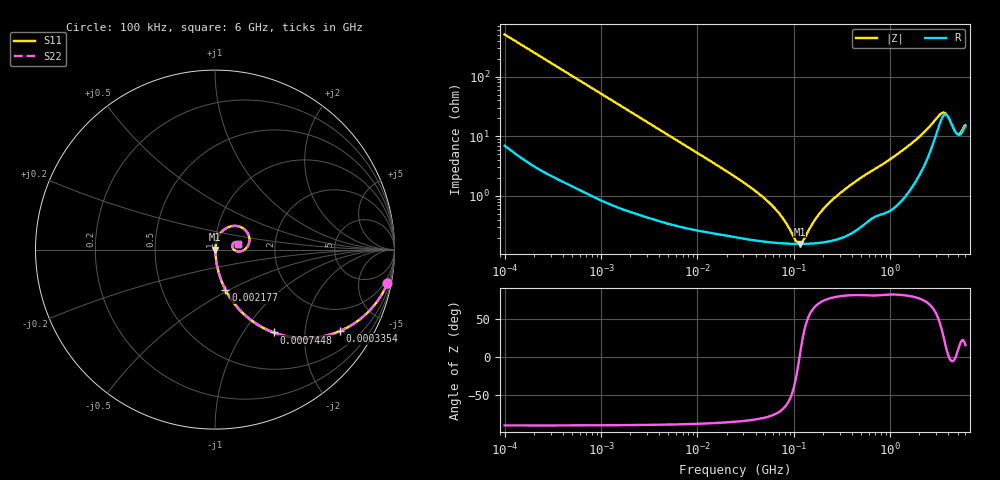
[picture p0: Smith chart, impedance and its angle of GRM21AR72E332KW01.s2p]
!Murata Part Number: GRM21AR72E332KW01
!These Parameters are Measured in Series Mode Connection
!Data Generated on Mar 30, 2021
!  o--ll--o
!Port1  Port2
!  o------o
!Operation Temp=25[degC], DC Bias Voltage=0[V]
!Freq. Start=100[kHz] Stop=6[GHz] 401[Steps]
# Hz S RI R 50
!Freq.(Hz) S11(Real) S11(Imag) S21(Real) S21(Imag) S12(Real) S12(Imag) S22(Real) S22(Imag)
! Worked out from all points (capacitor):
!   401 points, 100 kHz to 6 GHz, reference 50 ohm
!   read as one part in series: C = 3.13 nF near 105.7 kHz
!   lowest |Z| = 157 mohm at 114.3 MHz (marker M1)
!   series resonance near 114.3 MHz, so ESL is about 620 pH
!   S11 on the Smith chart (normalised r, x): 100 kHz: 1, -10; 335.4 kHz: 1.04, -3.05; 744.8 kHz: 1.02, -1.38; 2.177 MHz: 1.01, -0.48; 6 GHz: 1.30, +0.08
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100000  0.9603 -0.1885  0.0397 0.1885  0.0397 0.1885  0.9603 -0.1885
193504  0.8713 -0.3288  0.1287 0.3288  0.1287 0.3288  0.8713 -0.3288
335426  0.6974 -0.4529  0.3026 0.4529  0.3026 0.4529  0.6974 -0.4529
631452  0.4005 -0.4827  0.5995 0.4827  0.5995 0.4827  0.4005 -0.4827
744754  0.3262 -0.4613  0.6738 0.4613  0.6738 0.4613  0.3262 -0.4613
1221882  0.1562 -0.3545  0.8438 0.3545  0.8438 0.3545  0.1562 -0.3545
2177120  0.0582 -0.2235  0.9418 0.2235  0.9418 0.2235  0.0582 -0.2235
3987316  0.0204 -0.1278  0.9796 0.1278  0.9796 0.1278  0.0204 -0.1278
2.517799e7  0.00242 -0.0202  0.9976 0.0202  0.9976 0.0202  0.00242 -0.0202
6.07118e7  0.00169 -0.00644  0.9983 0.00644  0.9983 0.00644  0.00169 -0.00644
1.0524e8  0.00157 -0.000791  0.9984 0.000791  0.9984 0.000791  0.00157 -0.000791
1.142923e8  0.00157 1.8e-06  0.9984 -1.8e-06  0.9984 -1.8e-06  0.00157 1.8e-06
1.241232e8  0.00157 0.000796  0.9984 -0.000796  0.9984 -0.000796  0.00157 0.000796
1.546735e8  0.0016 0.00296  0.9984 -0.00296  0.9984 -0.00296  0.0016 0.00296
2.036431e8  0.0017 0.00589  0.9983 -0.00589  0.9983 -0.00589  0.0017 0.00589
2.911787e8  0.00201 0.0104  0.998 -0.0104  0.998 -0.0104  0.00201 0.0104
9.76689e8  0.00708 0.0395  0.9929 -0.0395  0.9929 -0.0395  0.00708 0.0395
2.229039e9  0.0415 0.1034  0.9585 -0.1034  0.9585 -0.1034  0.0415 0.1034
3.367428e9  0.1719 0.1056  0.8281 -0.1056  0.8281 -0.1056  0.1719 0.1056
3.863894e9  0.1842 0.0219  0.8158 -0.0219  0.8158 -0.0219  0.1842 0.0219
4.949184e9  0.0978 0.00995  0.9022 -0.00995  0.9022 -0.00995  0.0978 0.00995
6e9  0.1298 0.0318  0.8702 -0.0318  0.8702 -0.0318  0.1298 0.0318
